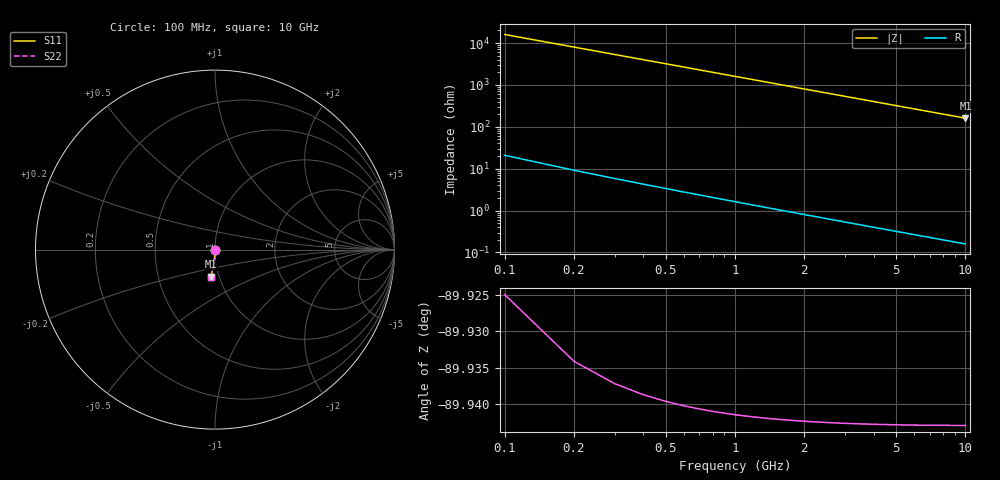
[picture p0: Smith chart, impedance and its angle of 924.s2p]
# Hz S RI R 50.00
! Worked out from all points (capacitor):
!   100 points, 100 MHz to 10 GHz, reference 50 ohm
!   read as one part in shunt: C = 99.6 fF near 100 MHz
!   lowest |Z| = 161 ohm at 10 GHz (marker M1)
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1e8  -1.64e-06 -0.00155  1 -0.00158  1 -0.00158  -1.64e-06 -0.00155
2e8  -1.05e-05 -0.0031  1 -0.00315  1 -0.00315  -1.05e-05 -0.0031
3e8  -2.43e-05 -0.00466  1 -0.00473  1 -0.00473  -2.43e-05 -0.00466
4e8  -4.29e-05 -0.00621  1 -0.00631  1 -0.00631  -4.29e-05 -0.00621
5e8  -6.65e-05 -0.00776  0.9999 -0.00788  0.9999 -0.00788  -6.65e-05 -0.00776
6e8  -9.49e-05 -0.00931  0.9999 -0.00946  0.9999 -0.00946  -9.49e-05 -0.00931
7e8  -0.000128 -0.0109  0.9999 -0.011  0.9999 -0.011  -0.000128 -0.0109
8e8  -0.000166 -0.0124  0.9998 -0.0126  0.9998 -0.0126  -0.000166 -0.0124
9e8  -0.00021 -0.014  0.9998 -0.0142  0.9998 -0.0142  -0.00021 -0.014
1.1e9  -0.00031 -0.0171  0.9997 -0.0173  0.9997 -0.0173  -0.00031 -0.0171
1.4e9  -0.000498 -0.0217  0.9995 -0.0221  0.9995 -0.0221  -0.000498 -0.0217
1.8e9  -0.000817 -0.0279  0.9992 -0.0283  0.9992 -0.0283  -0.000817 -0.0279
2.1e9  -0.00111 -0.0325  0.9989 -0.0331  0.9989 -0.0331  -0.00111 -0.0325
2.5e9  -0.00156 -0.0387  0.9984 -0.0393  0.9984 -0.0393  -0.00156 -0.0387
2.9e9  -0.00209 -0.0449  0.9979 -0.0456  0.9979 -0.0456  -0.00209 -0.0449
3.4e9  -0.00286 -0.0525  0.9971 -0.0534  0.9971 -0.0534  -0.00286 -0.0525
4.2e9  -0.00434 -0.0648  0.9957 -0.0658  0.9957 -0.0658  -0.00434 -0.0648
5.1e9  -0.00637 -0.0784  0.9936 -0.0797  0.9936 -0.0797  -0.00637 -0.0784
5.9e9  -0.00848 -0.0905  0.9915 -0.092  0.9915 -0.092  -0.00848 -0.0905
6.7e9  -0.0109 -0.1024  0.9891 -0.1041  0.9891 -0.1041  -0.0109 -0.1024
8.4e9  -0.0169 -0.1274  0.9831 -0.1296  0.9831 -0.1296  -0.0169 -0.1274
1e10  -0.0237 -0.1505  0.9762 -0.1531  0.9762 -0.1531  -0.0237 -0.1505
